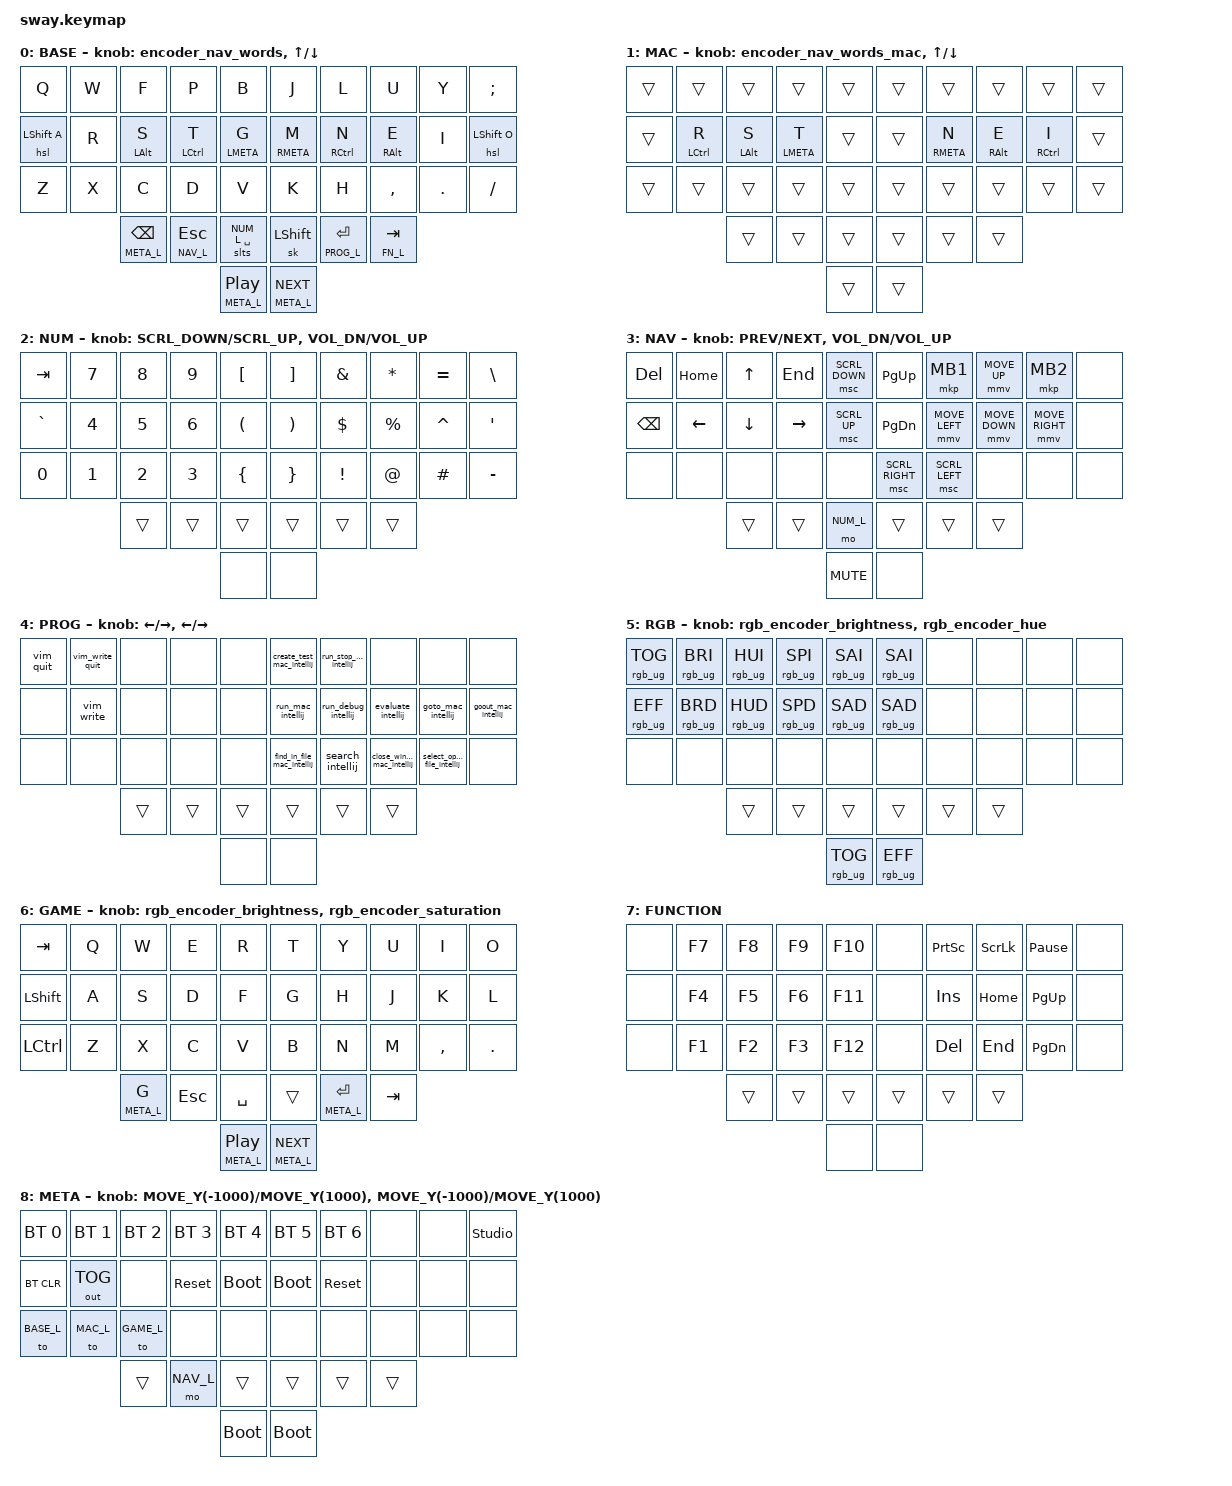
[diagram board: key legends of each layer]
#define ZMK_POINTING_DEFAULT_MOVE_VAL 1000  // default: 600
#define ZMK_POINTING_DEFAULT_SCRL_VAL 2000    // default: 10
#include <dt-bindings/zmk/pointing.h>

#define BASE_L                   0
#define MAC_L                    1
#define NUM_L                    2
#define NAV_L                    3

// #define MOUSE_SLOW               4
// #define MOUSE_FAST               5

#define PROG_L                   4
#define RGB_L                    5
#define GAME_L                   6
// #define GAME_EXT_L               9
#define FN_L                    7
#define META_L                  8 

#include "keymaps/includes.dtsi"
#include "keymaps/common.dtsi"

/ {
    
   keymap {
      compatible = "zmk,keymap";
      
      BASE_L {
        display-name = "BASE";
        sensor-bindings = <&encoder_nav_words>, <&inc_dec_kp UP DOWN>;
        bindings = <
// ┌─────────────┬────────┬────────────────┬────────────────┬──────────────┐   ┌───────────────────┬────────────────┬──────────────┬──────────────┬──────────────┐
   &kp Q         &kp W    &kp F            &kp P            &kp B        &kp J               &kp L            &kp U          &kp Y          &kp SEMI
// │─────────────┼────────┼────────────────┼────────────────┼──────────────┤   │───────────────────┼────────────────┼──────────────┼──────────────┼──────────────┤
   &hsl LSHIFT A  &kp R    &bhm LALT S      &bhm LCTRL T     &bhm LMETA G       &bhm RMETA M        &bhm RCTRL N     &bhm RALT E    &kp I         &hsl LSHIFT O
// │─────────────┼────────┼────────────────┼────────────────┼──────────────┤   │───────────────────┼────────────────┼──────────────┼──────────────┤──────────────┤
   &kp Z         &kp X    &kp C            &kp D            &kp V              &kp K               &kp H            &kp COMMA      &kp DOT        &kp SLASH
// └─────────────┴────────┴────────────────┼────────────────┼─────────────┤    │───────────────────┼────────────────┼──────────────┴──────────────┴──────────────┘
                          &lt META_L BSPC     &lt NAV_L ESC    &slts NUM_L SPACE  &sk LSHIFT  &lt PROG_L RET &lt FN_L TAB      
//                        └────────────────┴────────────────┴─────────────┘    └──────────────────┴────────────────┴
                                                            &lt META_L C_PLAY_PAUSE    &lt META_L C_NEXT 
        >;
    };

    MAC_L {
        sensor-bindings = <&encoder_nav_words_mac>, <&inc_dec_kp UP DOWN>;

        display-name = "MAC";
        bindings = <
// ┌────────┬────────────┬────────────────┬────────────┬─────┐    ┌────────────┬───────────────────┬────────────┬────────────┬──────┐
   &trans   &trans       &trans           &trans       &trans     &trans       &trans              &trans       &trans       &trans 
// │────────┼────────────┼────────────────┼────────────┼─────┤    │────────────┼───────────────────┼────────────┼────────────┼──────┤
   &trans   &bhm LCTRL R &bhm LEFT_ALT S  &bhm LMETA T &trans     &trans       &bhm RMETA N        &bhm RALT E  &bhm RCTRL I &trans 
// │────────┼────────────┼────────────────┼────────────┼─────┤    │────────────┼───────────────────┼────────────┼────────────┼──────┤
   &trans   &trans       &trans           &trans       &trans     &trans       &trans              &trans       &trans       &trans 
// └────────┴────────────┼────────────────┼────────────┼─────┤    │────────────┼───────────────────┼────────────┴────────────┴──────┘
                         &trans           &trans       &trans     &trans       &trans  &trans
//                       └────────────────┴────────────┴─────┘    └────────────┴───────────────────┴────┘
                                                        &trans    &trans
        >;
    };

    NUM_L {
        display-name = "NUM";
        sensor-bindings = <&scroll_mouse_move_encoder SCRL_DOWN SCRL_UP>, <&inc_dec_kp C_VOL_DN C_VOL_UP>;


        bindings = <
// ┌─────────┬──────┬──────┬──────┬──────┐              ┌──────────┬────────┬─────────┬─────────┬──────┐
   &kp TAB    &kp N7 &kp N8 &kp N9 &kp LEFT_BRACKET     &kp RIGHT_BRACKET     &kp AMPS &kp STAR  &kp EQUAL    &kp BACKSLASH    // used to be just '
// │─────────┼──────┼──────┼──────┼──────┤              │──────────┼────────┼─────────┼─────────┼──────┤
   &kp GRAVE &kp N4 &kp N5 &kp N6 &kp LPAR              &kp RPAR     &kp DLLR &kp PRCNT &kp CARET &kp SINGLE_QUOTE // used to be just "
// │─────────┼──────┼──────┼──────┼──────┤              │──────────┼────────┼─────────┼─────────┼──────┤
   &kp N0  &kp N1 &kp N2 &kp N3   &kp LEFT_BRACE           &kp RIGHT_BRACE     &kp EXCL &kp AT    &kp HASH  &kp MINUS    // used to be backslash
// └─────────┴──────┴──────┼──────┼──────┤              │──────────┼────────┼─────────┴─────────┴──────┘
                    &trans &trans &trans                &trans    &trans   &trans    
//                  └──────┴──────┴────┘                └──────────┴────────┴─────────┘
                                        &none     &none
         >;
    };

    NAV_L {
        display-name = "NAV";
        sensor-bindings = <&inc_dec_kp C_PREV C_NEXT>, <&inc_dec_kp C_VOL_DN C_VOL_UP>;
        bindings = <
// ┌────────────┬──────────┬────────┬──────────┬─────────────┐     ┌────────────────┬───────────────┬───────────────┬────────────────┬───────────┐
   &kp DELETE   &kp HOME   &kp UP   &kp END    &msc SCRL_DOWN      &kp PAGE_UP      &mkp MB1        &mmv MOVE_UP    &mkp MB2         &none 
// │────────────┼──────────┼────────┼──────────┼─────────────┤     │────────────────┼───────────────┼───────────────┼────────────────┼───────────┤
   &kp BSPC     &kp LEFT   &kp DOWN &kp RIGHT  &msc SCRL_UP        &kp PAGE_DOWN    &mmv MOVE_LEFT  &mmv MOVE_DOWN  &mmv MOVE_RIGHT  &none
// │────────────┼──────────┼────────┼──────────┼─────────────┤     │────────────────┼───────────────┼───────────────┼────────────────┼───────────┤
   &none       &none     &none   &none     &none              &msc SCRL_RIGHT  &msc SCRL_LEFT  &none          &none           &none
// └────────────┴──────────┼────────┼──────────┼─────────────┤     │────────────────│───────────────┼───────────────┼────────────────┴───────────┘
                           &trans   &trans     &mo NUM_L              &trans   &trans           &trans
//                         └────────┴──────────┴─────────────┘     └────────────────┴───────────────┴───────────────┘
                &kp K_MUTE &none
        >;
    };

    PROG_L {
        display-name = "PROG";
        sensor-bindings = <&inc_dec_kp LEFT RIGHT>, <&inc_dec_kp LEFT RIGHT>;
        bindings = <
// ┌───────┬───────┬───────┬───────┬─────┐                    ┌──────────────────────────┬──────────────────────┬────────────────────────────┬────────────────────────────┬─────┐
    &vim_quit  &vim_write_quit  &none  &none  &none                    &create_test_mac_intellij  &run_stop_mac_intellij &none                       &none                       &none
// │───────┼───────┼───────┼───────┼─────┤                    │──────────────────────────┼──────────────────────┼────────────────────────────┼────────────────────────────┼─────┤
    &none  &vim_write  &none  &none  &none                    &run_mac_intellij          &run_debug_intellij    &evaluate_intellij           &goto_mac_intellij           &goout_mac_intellij
// │───────┼───────┼───────┼───────┼─────┤                    │──────────────────────────┼──────────────────────┼────────────────────────────┼────────────────────────────┼─────┤
    &none  &none  &none  &none  &none                    &find_in_file_mac_intellij &search_intellij       &close_window_mac_intellij   &select_opened_file_intellij &none
// └───────┴───────┼───────┼───────┤─────┤                    │──────────────────────────┼──────────────────────┼────────────────────────────┴────────────────────────────┴─────┘ 
                   &trans  &trans   &trans                                 &trans                     &trans                 &trans
//                 └───────┴───────┴─────┘                    └──────────────────────────┴──────────────────────┴────────────────────────────┘
            &none &none
        >;
    };

    RGB_L {
        display-name = "RGB";
        sensor-bindings = <&rgb_encoder_brightness>, <&rgb_encoder_hue>;
        bindings = <
// ┌────────────────┬────────────────┬────────────────┬────────────────┬─────────────┐                     ┌────────────────┬───────┬───────┬───────┬─────┐
   &rgb_ug RGB_TOG  &rgb_ug RGB_BRI  &rgb_ug RGB_HUI  &rgb_ug RGB_SPI  &rgb_ug RGB_SAI                              &rgb_ug RGB_SAI  &none  &none  &none  &none
// │────────────────┼────────────────┼────────────────┼────────────────┼─────────────┤                     │────────────────┼───────┼───────┼───────┼─────┤
   &rgb_ug RGB_EFF  &rgb_ug RGB_BRD  &rgb_ug RGB_HUD  &rgb_ug RGB_SPD  &rgb_ug RGB_SAD                               &rgb_ug RGB_SAD  &none  &none  &none  &none
// │────────────────┼────────────────┼────────────────┼────────────────┼─────────────┤                     │────────────────┼───────┼───────┼───────┼─────┤
   &none           &none           &none           &none           &none                               &none           &none  &none  &none  &none
// └────────────────┴────────────────┴────────────────┼────────────────┤─────────────┤                     │────────────────┼───────┼───────┴───────┴─────┘ 
                                     &trans           &trans           &trans                              &trans           &trans  &trans  
//                                   └────────────────┴────────────────┴─────────────┘                     └────────────────┴───────┴───────┘
            &rgb_ug RGB_TOG &rgb_ug RGB_EFF
        >;
    };

        GAME_L {
            sensor-bindings = <&rgb_encoder_brightness>, <&rgb_encoder_saturation>;

            display-name = "GAME";
            bindings = <
// ┌──────────┬──────┬────────────────┬──────────────────────────┬────────┐    ┌──────────┬──────┬─────────┬─────────┬─────┐           
   &kp TAB    &kp Q  &kp W           &kp E                      &kp R         &kp T     &kp Y   &kp U     &kp I     &kp O
// │──────────┼──────┼───────────────┼──────────────────────────┼────────┤    │─────────┼───────┼─────────┼─────────┼─────┤
   &kp LSHIFT &kp A  &kp S           &kp D                      &kp F         &kp G     &kp H   &kp J     &kp K     &kp L
// │──────────┼──────┼───────────────┼──────────────────────────┼────────┤    │─────────┼───────┼─────────┼─────────┼─────┤
   &kp LCTRL  &kp Z  &kp X           &kp C                      &kp V         &kp B     &kp N   &kp M &kp COMMA   &kp DOT
// └──────────┴──────┼───────────────┼──────────────────────────┤────────┤    │─────────┼───────┼─────────┴─────────┴─────┘ 
                     &lt META_L G    &kp ESC                    &kp SPACE     &trans   &lt META_L RET &kp TAB    
//                   └───────────────┴──────────────────────────┴────────┘    └─────────┴───────┴─────────┘
                                                    &lt META_L C_PLAY_PAUSE    &lt META_L C_NEXT 
                                                         
        >;
    };

//     GAME_EXT_L {
//         display-name = "GAME2";
//         bindings = <
// // ┌────────┬─────────┬─────────┬─────────┬─────┐                 ┌───────┬───────┬──────┬──────┬───┐
//    &none    &none    &kp UP    &none     &none                  &none  &none  &none &none &none
// // │────────┼─────────┼─────────┼─────────┼─────┤                 │───────┼───────┼──────┼──────┼───┤
//    &none    &kp LEFT  &kp DOWN  &kp RIGHT &kp N0                  &none  &none  &none &none &none
// // │────────┼─────────┼─────────┼─────────┼─────┤─────┤   │───────┼───────┼──────┼──────┼───┤
//    &none    &kp N1    &kp N2    &kp N3     &kp N4                   &none  &none  &none &none &none
// // └────────┴─────────┴─────────┼─────────┤─────┤─────┤   │───────┼───────┼──────┴──────┴───┘ 
//                       &none    &none     &kp TAB            &none  &none  &none 
// //                    └─────────┴─────────┴─────┘                 └───────┴───────┴──────┘
//             &none &none
//         >;
//     };

    FN_L {
        display-name = "FUNCTION";
        bindings = <
// ┌──────┬──────┬──────┬──────┬─────┐   ┌──────┬─────────┬─────────┬───────────────┬─────┐
   &none &kp F7 &kp F8 &kp F9 &kp F10   &none &kp PSCRN &kp SLCK  &kp PAUSE_BREAK &none
// │──────┼──────┼──────┼──────┼─────┤   │──────┼─────────┼─────────┼───────────────┼─────┤
   &none &kp F4 &kp F5 &kp F6 &kp F11   &none &kp INS   &kp HOME  &kp PAGE_UP     &none
// │──────┼──────┼──────┼──────┼─────┤   │──────┼─────────┼─────────┼───────────────┼─────┤
   &none &kp F1 &kp F2 &kp F3 &kp F12   &none &kp DEL   &kp END   &kp PAGE_DOWN   &none
// └──────┴──────┴──────┼──────┤─────┤   │──────┼─────────┼─────────┴───────────────┴─────┘ 
                 &trans &trans &trans    &trans &trans    &trans    
//               └──────┴──────┴─────┘   └──────┴─────────┴─────────┘
                                &none &none
            >;
    };

        META_L {
            display-name = "META";
            sensor-bindings = <&inc_dec_kp MOVE_Y(-1000) MOVE_Y(1000)>, <&inc_dec_kp MOVE_Y(-1000) MOVE_Y(1000)>;
            bindings = <
// ┌────────────┬──────────────┬─────────────┬────────────────┬───────────┐   ┌──────┬──────┬──────┬──────┬───┐
   &bt BT_SEL 0 &bt BT_SEL 1   &bt BT_SEL 2  &bt BT_SEL 3     &bt BT_SEL 4    &bt BT_SEL 5  &bt BT_SEL 6 &none &none &studio_unlock
// │────────────┼──────────────┼─────────────┼────────────────┼───────────┤   │──────┼──────┼──────┼──────┼───┤
   &bt BT_CLR   &out OUT_TOG   &none        &sys_reset       &bootloader     &bootloader &sys_reset &none &none &none
// │────────────┼──────────────┼─────────────┼────────────────┼───────────┤   │──────┼──────┼──────┼──────┼───┤
   &to BASE_L   &to MAC_L      &to GAME_L    &none           &none           &none &none &none &none &none
// └────────────┴──────────────┴─────────────┼────────────────┤───────────┤   │──────┼──────┼──────┴──────┴───┘ 
                         &trans        &mo NAV_L       &trans                    &trans &trans &trans
//                             └─────────────┴────────────────┴───────────┘   └──────┴──────┴──────┘
                                                                &bootloader &bootloader
            >;
        };

//       sensor-bindings = <&inc_dec_kp C_VOL_UP C_VOL_DN>;
// // ┌─────────┬─────────┬─────────┬────────┬──────┐    ┌────────┬────────┬─────────┬─────────┬──────┐
//    &none    &none    &none    &none   &none      &none   &none   &none   &none     &none
// // │─────────┼─────────┼─────────┼────────┼──────┤    │────────┼────────┼─────────┼─────────┼──────┤
//    &none    &none    &none    &none   &none      &none   &none   &none   &none     &none
// // │─────────┼─────────┼─────────┼────────┼──────┤    │────────│────────┼────────┼─────────┼───────┤
//    &none    &none    &none    &none   &none      &none   &none   &none   &none    &none    
// // └─────────┴─────────┼─────────┼────────┼──────┤    │────────│────────┼────────┼─────────┴───────┘
//                        &none    &none   &none      &none   &none   &none   
// //                     └─────────┴────────┴──────┘    └────────┴────────┴────────┘
//                                             &none      &none
    };

};
